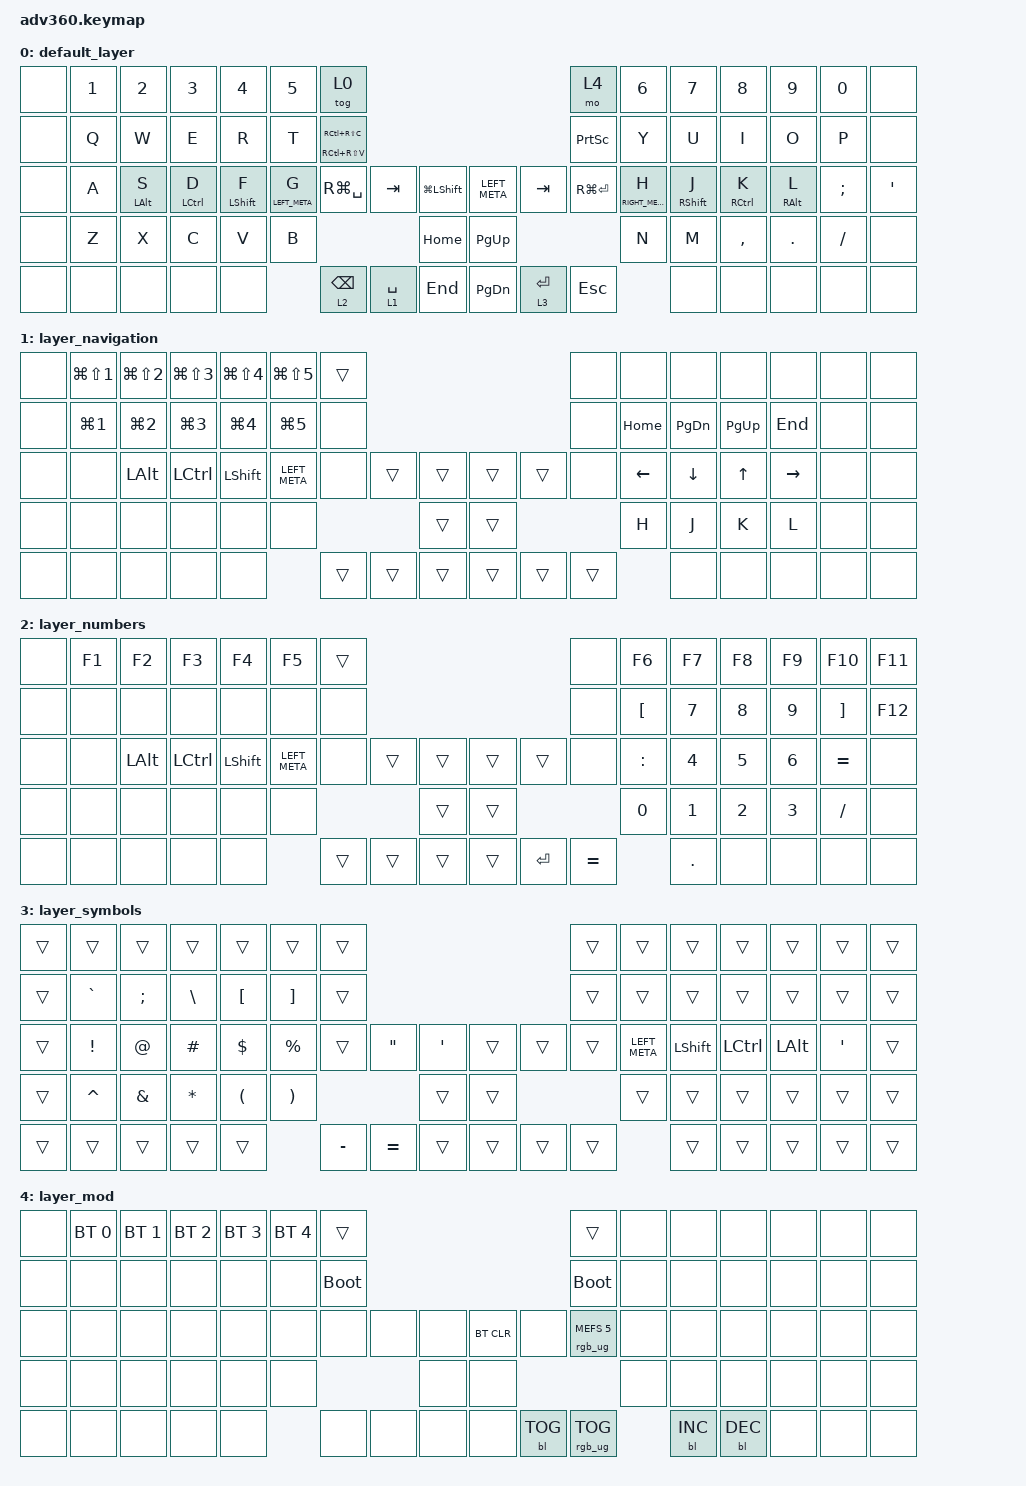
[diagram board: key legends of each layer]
/*
 * Copyright (c) 2020 The ZMK Contributors
 *
 * SPDX-License-Identifier: MIT
 */
/* THIS FILE WAS GENERATED!
 *
 * This file was generated automatically. You may or may not want to
 * edit it directly.
 */

#include <behaviors.dtsi>
#include <dt-bindings/zmk/backlight.h>
#include <dt-bindings/zmk/bt.h>
#include <dt-bindings/zmk/keys.h>
#include <dt-bindings/zmk/rgb.h>

&lt {
    quick-tap-ms = <200>;
    require-prior-idle-ms = <125>;
};

/ {
    behaviors {
        #include "macros.dtsi"
    #include "version.dtsi"

        hm: homerow_mods {
            compatible = "zmk,behavior-hold-tap";
            label = "HOMEROW_MODS";
            #binding-cells = <2>;
            tapping-term-ms = <200>;
            require-prior-idle-ms = <125>;
            flavor = "tap-preferred";
            bindings = <&kp>, <&kp>;

            quick-tap-ms = <200>;
        };
    };

    keymap {
        compatible = "zmk,keymap";

        default_layer {
            bindings = <
&none  &kp N1  &kp N2          &kp N3              &kp N4            &kp N5           &tog 0                                                                                    &mo 4            &kp N6            &kp N7             &kp N8               &kp N9           &kp N0     &none
&none  &kp Q   &kp W           &kp E               &kp R             &kp T            &mt RC(RS(V)) RC(RS(C))                                                                   &kp PRINTSCREEN  &kp Y             &kp U              &kp I                &kp O            &kp P      &none
&none  &kp A   &hm LEFT_ALT S  &hm LEFT_CONTROL D  &hm LEFT_SHIFT F  &hm LEFT_META G  &kp RG(SPACE)            &kp TAB      &kp LG(LEFT_SHIFT)      &kp LEFT_META  &kp TAB      &kp RG(ENTER)    &hm RIGHT_META H  &hm RIGHT_SHIFT J  &hm RIGHT_CONTROL K  &hm RIGHT_ALT L  &kp SEMI   &kp SINGLE_QUOTE
&none  &kp Z   &kp X           &kp C               &kp V             &kp B                                                  &kp HOME                &kp PG_UP                                    &kp N             &kp M              &kp COMMA            &kp DOT          &kp SLASH  &none
&none  &none   &none           &none               &none                              &lt 2 BACKSPACE          &lt 1 SPACE  &kp END                 &kp PG_DN      &lt 3 ENTER  &kp ESCAPE                         &none              &none                &none            &none      &none
            >;
        };

        layer_navigation {
            bindings = <
&none  &kp LG(LS(NUMBER_1))  &kp LG(LS(N2))    &kp LG(LS(NUMBER_3))  &kp LG(LS(NUMBER_4))  &kp LG(LS(NUMBER_5))  &trans                                      &none   &none     &none          &none      &none      &none  &none
&none  &kp LG(NUMBER_1)      &kp LG(NUMBER_2)  &kp LG(NUMBER_3)      &kp LG(NUMBER_4)      &kp LG(NUMBER_5)      &none                                       &none   &kp HOME  &kp PAGE_DOWN  &kp PG_UP  &kp END    &none  &none
&none  &none                 &kp LEFT_ALT      &kp LEFT_CONTROL      &kp LEFT_SHIFT        &kp LEFT_META         &none   &trans  &trans      &trans  &trans  &none   &kp LEFT  &kp DOWN       &kp UP     &kp RIGHT  &none  &none
&none  &none                 &none             &none                 &none                 &none                                 &trans      &trans                  &kp H     &kp J          &kp K      &kp L      &none  &none
&none  &none                 &none             &none                 &none                                       &trans  &trans  &trans      &trans  &trans  &trans            &none          &none      &none      &none  &none
            >;
        };

        layer_numbers {
            bindings = <
&none  &kp F1  &kp F2        &kp F3            &kp F4      &kp F5         &trans                                         &none      &kp F6            &kp F7        &kp F8        &kp F9        &kp F10            &kp F11
&none  &none   &none         &none             &none       &none          &none                                          &none      &kp LEFT_BRACKET  &kp NUMBER_7  &kp NUMBER_8  &kp NUMBER_9  &kp RIGHT_BRACKET  &kp F12
&none  &none   &kp LEFT_ALT  &kp LEFT_CONTROL  &kp LSHIFT  &kp LEFT_META  &none   &trans  &trans      &trans  &trans     &none      &kp COLON         &kp NUMBER_4  &kp NUMBER_5  &kp NUMBER_6  &kp EQUAL          &none
&none  &none   &none         &none             &none       &none                          &trans      &trans                        &kp NUMBER_0      &kp NUMBER_1  &kp NUMBER_2  &kp NUMBER_3  &kp SLASH          &none
&none  &none   &none         &none             &none                      &trans  &trans  &trans      &trans  &kp ENTER  &kp EQUAL                    &kp DOT       &none         &none         &none              &none
            >;
        };

        layer_symbols {
            bindings = <
&trans  &trans     &trans         &trans         &trans                &trans                 &trans                                                              &trans  &trans         &trans          &trans            &trans        &trans            &trans
&trans  &kp GRAVE  &kp SEMICOLON  &kp BACKSLASH  &kp LEFT_BRACKET      &kp RIGHT_BRACKET      &trans                                                              &trans  &trans         &trans          &trans            &trans        &trans            &trans
&trans  &kp EXCL   &kp AT         &kp POUND      &kp DOLLAR            &kp PERCENT            &trans     &kp DOUBLE_QUOTES  &kp SINGLE_QUOTE      &trans  &trans  &trans  &kp LEFT_META  &kp LEFT_SHIFT  &kp LEFT_CONTROL  &kp LEFT_ALT  &kp SINGLE_QUOTE  &trans
&trans  &kp CARET  &kp AMPERSAND  &kp STAR       &kp LEFT_PARENTHESIS  &kp RIGHT_PARENTHESIS                                &trans                &trans                  &trans         &trans          &trans            &trans        &trans            &trans
&trans  &trans     &trans         &trans         &trans                                       &kp MINUS  &kp EQUAL          &trans                &trans  &trans  &trans                 &trans          &trans            &trans        &trans            &trans
            >;
        };

        layer_mod {
            bindings = <
&none  &bt BT_SEL 0  &bt BT_SEL 1  &bt BT_SEL 2  &bt BT_SEL 3  &bt BT_SEL 4  &trans                                                 &trans                  &none  &none       &none       &none  &none  &none
&none  &none         &none         &none         &none         &none         &bootloader                                            &bootloader             &none  &none       &none       &none  &none  &none
&none  &none         &none         &none         &none         &none         &none        &none  &none      &bt BT_CLR  &none       &rgb_ug RGB_MEFS_CMD 5  &none  &none       &none       &none  &none  &none
&none  &none         &none         &none         &none         &none                             &none      &none                                           &none  &none       &none       &none  &none  &none
&none  &none         &none         &none         &none                       &none        &none  &none      &none       &bl BL_TOG  &rgb_ug RGB_TOG                &bl BL_INC  &bl BL_DEC  &none  &none  &none
            >;
        };
    };
};
